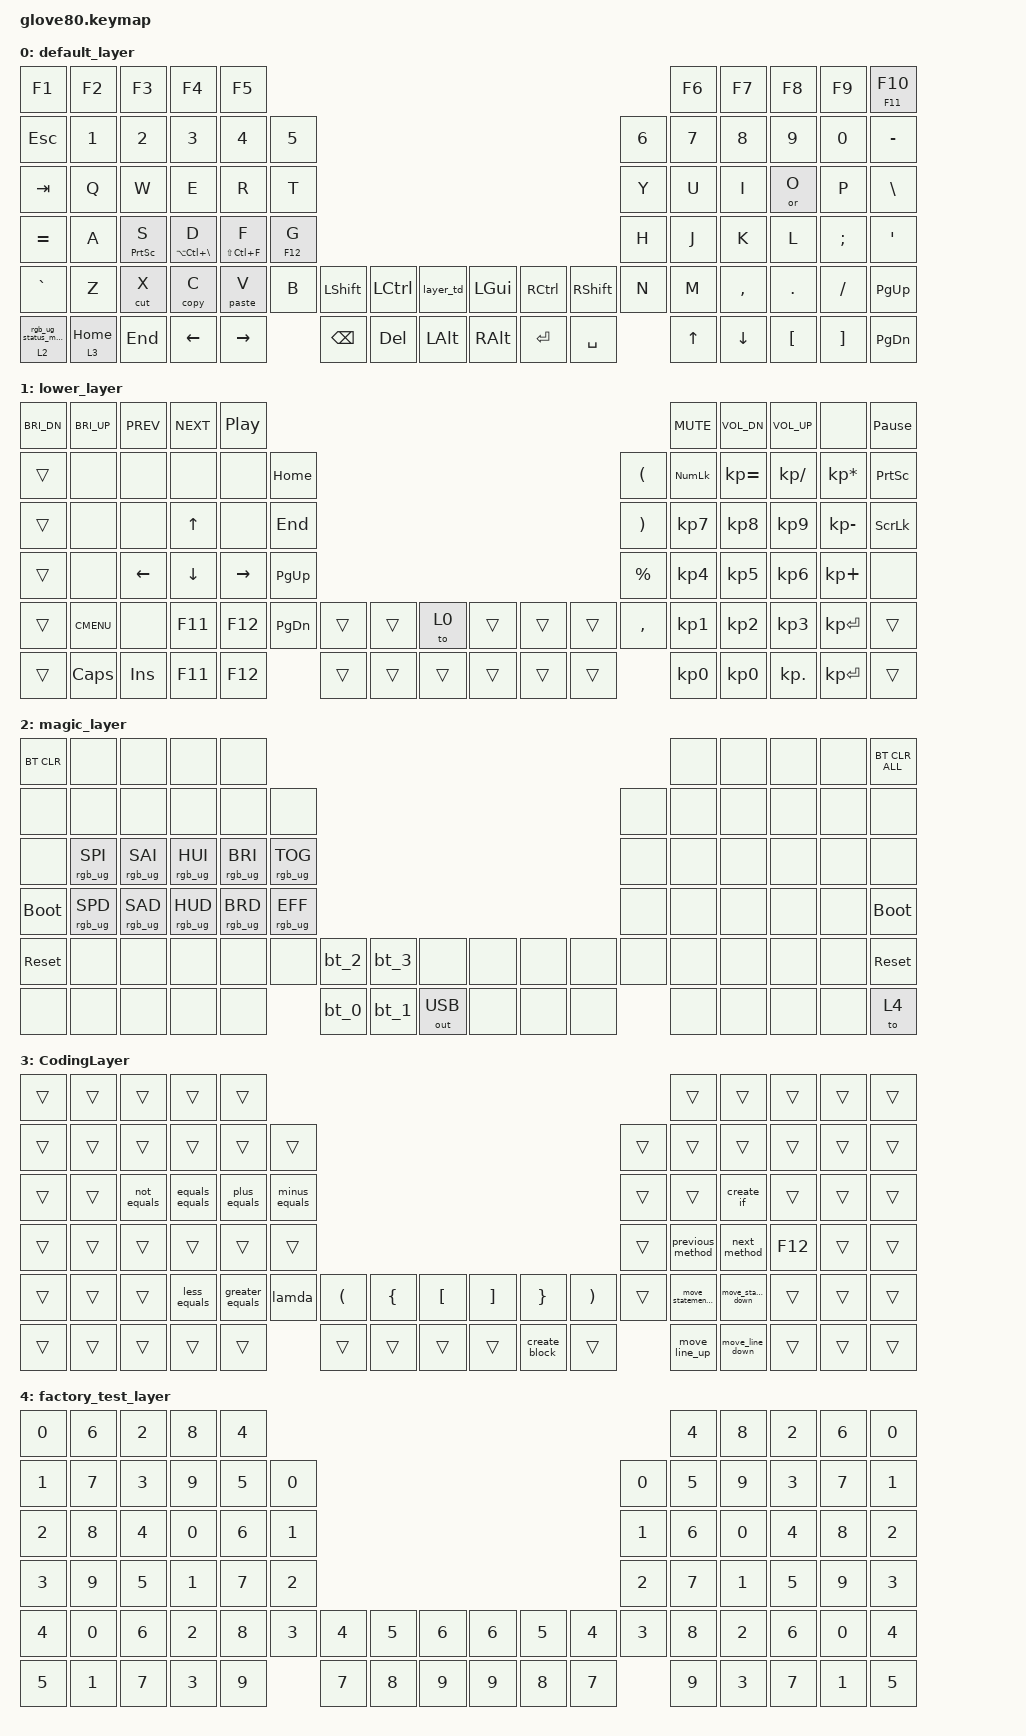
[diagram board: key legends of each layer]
/*
 * Copyright (c) 2020 The ZMK Contributors
 *
 * SPDX-License-Identifier: MIT
 */

#include <behaviors.dtsi>
#include <dt-bindings/zmk/bt.h>
#include <dt-bindings/zmk/keys.h>
#include <dt-bindings/zmk/outputs.h>
#include <dt-bindings/zmk/rgb.h>

#define HYPER LC(LS(LG(LALT)))

// layers

#define DEFAULT 0
#define LOWER 1
#define MAGIC 2
#define FACTORY_TEST 3

/ {
    behaviors {
        // For the "layer" key, it'd nice to be able to use it as either a shift or a toggle.
        // Configure it as a tap dance, so the first tap (or hold) is a &mo and the second tap is a &to

        layer_td: tap_dance_0 {
            compatible = "zmk,behavior-tap-dance";
            label = "LAYER_TAP_DANCE";
            #binding-cells = <0>;
            tapping-term-ms = <200>;
            bindings = <&mo 1>, <&to 1>;
        };

        magic: magic_hold_tap {
            compatible = "zmk,behavior-hold-tap";
            label = "MAGIC_HOLD_TAP";
            #binding-cells = <2>;
            flavor = "tap-preferred";
            tapping-term-ms = <200>;
            bindings = <&mo>, <&rgb_ug_status_macro>;
        };

        tap_hold_press: tap_hold_press {
            compatible = "zmk,behavior-hold-tap";
            label = "TAP_HOLD_PRESS";
            bindings = <&kp>, <&kp>;

            #binding-cells = <2>;
            tapping-term-ms = <300>;
            flavor = "tap-preferred";
        };

        tap_hold_layer: tap_hold_layer {
            compatible = "zmk,behavior-hold-tap";
            label = "TAP_HOLD_LAYER";
            bindings = <&mo>, <&kp>;

            #binding-cells = <2>;
            tapping-term-ms = <250>;
            flavor = "tap-preferred";
        };

        tap_hold_cut: tap_hold_cut {
            compatible = "zmk,behavior-hold-tap";
            label = "TAP_HOLD_CUT";
            bindings = <&cut>, <&kp>;

            #binding-cells = <2>;
            tapping-term-ms = <250>;
            flavor = "tap-preferred";
        };

        tap_hold_copy: tap_hold_copy {
            compatible = "zmk,behavior-hold-tap";
            label = "TAP_HOLD_COPY";
            bindings = <&copy>, <&kp>;

            #binding-cells = <2>;
            tapping-term-ms = <250>;
            flavor = "tap-preferred";
        };

        tap_hold_paste: tap_hold_paste {
            compatible = "zmk,behavior-hold-tap";
            label = "TAP_HOLD_PASTE";
            bindings = <&paste>, <&kp>;

            #binding-cells = <2>;
            tapping-term-ms = <250>;
            flavor = "tap-preferred";
        };

        tap_hold_or: tap_hold_or {
            compatible = "zmk,behavior-hold-tap";
            label = "TAP_HOLD_OR";
            bindings = <&or>, <&kp>;

            #binding-cells = <2>;
            flavor = "tap-preferred";
            tapping-term-ms = <300>;
        };
    };

    macros {
        rgb_ug_status_macro: rgb_ug_status_macro_0 {
            label = "RGB_UG_STATUS";
            compatible = "zmk,behavior-macro";
            #binding-cells = <0>;
            bindings = <&rgb_ug RGB_STATUS>;
        };

        bt_0: bt_profile_macro_0 {
            label = "BT_0";
            compatible = "zmk,behavior-macro";
            #binding-cells = <0>;
            bindings = <&out OUT_BLE &bt BT_SEL 0>;
        };

        bt_1: bt_profile_macro_1 {
            label = "BT_1";
            compatible = "zmk,behavior-macro";
            #binding-cells = <0>;
            bindings = <&out OUT_BLE &bt BT_SEL 1>;
        };

        bt_2: bt_profile_macro_2 {
            label = "BT_2";
            compatible = "zmk,behavior-macro";
            #binding-cells = <0>;
            bindings = <&out OUT_BLE &bt BT_SEL 2>;
        };

        bt_3: bt_profile_macro_3 {
            label = "BT_3";
            compatible = "zmk,behavior-macro";
            #binding-cells = <0>;
            bindings = <&out OUT_BLE &bt BT_SEL 3>;
        };

        equals_equals: equals_equals {
            compatible = "zmk,behavior-macro";
            #binding-cells = <0>;
            bindings = <&kp EQUAL &kp EQUAL>;
            label = "EQUALS_EQUALS";
        };

        plus_equals: plus_equals {
            compatible = "zmk,behavior-macro";
            #binding-cells = <0>;
            bindings = <&kp PLUS &kp EQUAL>;
            label = "PLUS_EQUALS";
        };

        minus_equals: minus_equals {
            compatible = "zmk,behavior-macro";
            #binding-cells = <0>;
            bindings = <&kp MINUS &kp EQUAL>;
            label = "MINUS_EQUALS";
        };

        next_method: next_method {
            compatible = "zmk,behavior-macro";
            #binding-cells = <0>;
            bindings = <&kp LC(LS(LA(K)))>;
            label = "NEXT_METHOD";
        };

        previous_method: previous_method {
            compatible = "zmk,behavior-macro";
            #binding-cells = <0>;
            bindings = <&kp LS(LA(LC(J)))>;
            label = "PREVIOUS_METHOD";
        };

        move_line_up: move_line_up {
            compatible = "zmk,behavior-macro";
            #binding-cells = <0>;
            bindings = <&kp LA(UP_ARROW)>;
            label = "MOVE_LINE_UP";
        };

        move_line_down: move_line_down {
            compatible = "zmk,behavior-macro";
            #binding-cells = <0>;
            bindings = <&kp LA(DOWN_ARROW)>;
            label = "MOVE_LINE_DOWN";
        };

        move_statement_up: move_statement_up {
            compatible = "zmk,behavior-macro";
            #binding-cells = <0>;
            bindings = <&kp LS(LA(LC(UP_ARROW)))>;
            label = "MOVE_STATEMENT_UP";
        };

        move_statement_down: move_statement_down {
            compatible = "zmk,behavior-macro";
            #binding-cells = <0>;
            bindings = <&kp LS(LA(LC(DOWN_ARROW)))>;
            label = "MOVE_STATEMENT_DOWN";
        };

        greater_equals: greater_equals {
            compatible = "zmk,behavior-macro";
            #binding-cells = <0>;
            bindings = <&kp GT &kp EQUAL>;
            label = "GREATER_EQUALS";
        };

        less_equals: less_equals {
            compatible = "zmk,behavior-macro";
            #binding-cells = <0>;
            bindings = <&kp LT &kp EQUAL>;
            label = "LESS_EQUALS";
        };

        lamda: lamda {
            compatible = "zmk,behavior-macro";
            #binding-cells = <0>;
            bindings = <&kp EQUAL &kp GT>;
            label = "LAMDA";
        };

        cut: cut {
            compatible = "zmk,behavior-macro";
            #binding-cells = <0>;
            bindings = <&kp LC(X)>;
            label = "CUT";
        };

        copy: copy {
            compatible = "zmk,behavior-macro";
            #binding-cells = <0>;
            bindings = <&kp LC(C)>;
            label = "COPY";
        };

        paste: paste {
            compatible = "zmk,behavior-macro";
            #binding-cells = <0>;
            bindings = <&kp LC(V)>;
            label = "PASTE";
        };

        or: or {
            compatible = "zmk,behavior-macro";
            #binding-cells = <0>;
            bindings = <&kp RA(PIPE) &kp RA(PIPE)>;
            label = "OR";
        };

        create_block: create_block {
            compatible = "zmk,behavior-macro";
            #binding-cells = <0>;
            bindings = <&kp END &kp ENTER &kp LEFT_BRACE &kp ENTER>;
            label = "CREATE_BLOCK";
        };

        not_equals: not_equals {
            compatible = "zmk,behavior-macro";
            #binding-cells = <0>;
            bindings = <&kp EXCL &kp EQUAL>;
            label = "NOT_EQUALS";
        };

        create_if: create_if {
            compatible = "zmk,behavior-macro";
            #binding-cells = <0>;
            bindings = <&kp I &kp F &kp SPACE &kp LPAR>;
            label = "CREATE_IF";
        };
    };

    keymap {
        compatible = "zmk,keymap";

        default_layer {
            // ---------------------------------------------------------------------------------------------------------------------------------
            // |  F1   |  F2 |  F3 |  F4  |  F5  |                                                               |  F6   |  F7   |  F8  |   F9  |  F10 |
            // |  =    |  1  |  2  |  3   |  4   |  5   |                                                 |  6   |   7   |   8   |  9   |   0   |   -  |
            // |  TAB  |  Q  |  W  |  E   |  R   |  T   |                                                 |  Y   |   U   |   I   |  O   |   P   |   \  |
            // |  ESC  |  A  |  S  |  D   |  F   |  G   |                                                 |  H   |   J   |   K   |  L   |   ;   |   '  |
            // |   `   |  Z  |  X  |  C   |  V   |  B   | LSHFT | LCTRL | LOWER | | LGUI  | RCTRL | RSHFT |  N   |   M   |   ,   |  .   |   /   | PGUP |
            // | MAGIC | HOME| END | LEFT | RIGHT|      | BSPC  | DEL   | LALT  | | RALT  | RET   | SPACE |      |  UP   | DOWN  |  [   |   ]   | PGDN |

            bindings = <
&kp F1      &kp F2                  &kp F3                         &kp F4                               &kp F5                                                                                                                       &kp F6  &kp F7     &kp F8            &kp F9    &tap_hold_press F11 F10
&kp ESCAPE  &kp N1                  &kp N2                         &kp N3                               &kp N4                       &kp N5                                                                                  &kp N6  &kp N7  &kp N8     &kp N9            &kp N0    &kp MINUS
&kp TAB     &kp Q                   &kp W                          &kp E                                &kp R                        &kp T                                                                                   &kp Y   &kp U   &kp I      &tap_hold_or 0 O  &kp P     &kp BSLH
&kp EQUAL   &kp A                   &tap_hold_press PRINTSCREEN S  &tap_hold_press LA(LC(BACKSLASH)) D  &tap_hold_press LS(LC(F)) F  &tap_hold_press F12 G                                                                   &kp H   &kp J   &kp K      &kp L             &kp SEMI  &kp SQT
&kp GRAVE   &kp Z                   &tap_hold_cut 0 X              &tap_hold_copy 0 C                   &tap_hold_paste 0 V          &kp B                  &kp LSHFT  &kp LCTRL  &layer_td  &kp LGUI  &kp RCTRL  &kp RSHFT  &kp N   &kp M   &kp COMMA  &kp DOT           &kp FSLH  &kp PG_UP
&magic 2 0  &tap_hold_layer 3 HOME  &kp END                        &kp LEFT                             &kp RIGHT                                           &kp BSPC   &kp DEL    &kp LALT   &kp RALT  &kp RET    &kp SPACE          &kp UP  &kp DOWN   &kp LBKT          &kp RBKT  &kp PG_DN
            >;
        };

        lower_layer {
            bindings = <
&kp C_BRI_DN  &kp C_BRI_UP  &kp C_PREV  &kp C_NEXT  &kp C_PP                                                                         &kp C_MUTE  &kp C_VOL_DN  &kp C_VOL_UP   &none            &kp PAUSE_BREAK
&trans        &none         &none       &none       &none      &kp HOME                                                   &kp LPAR   &kp KP_NUM  &kp KP_EQUAL  &kp KP_DIVIDE  &kp KP_MULTIPLY  &kp PSCRN
&trans        &none         &none       &kp UP      &none      &kp END                                                    &kp RPAR   &kp KP_N7   &kp KP_N8     &kp KP_N9      &kp KP_MINUS     &kp SLCK
&trans        &none         &kp LEFT    &kp DOWN    &kp RIGHT  &kp PG_UP                                                  &kp PRCNT  &kp KP_N4   &kp KP_N5     &kp KP_N6      &kp KP_PLUS      &none
&trans        &kp K_CMENU   &none       &kp F11     &kp F12    &kp PG_DN  &trans  &trans  &to 0   &trans  &trans  &trans  &kp COMMA  &kp KP_N1   &kp KP_N2     &kp KP_N3      &kp KP_ENTER     &trans
&trans        &kp CAPS      &kp INS     &kp F11     &kp F12               &trans  &trans  &trans  &trans  &trans  &trans             &kp KP_N0   &kp KP_N0     &kp KP_DOT     &kp KP_ENTER     &trans
            >;
        };

        magic_layer {
            bindings = <
&bt BT_CLR   &none            &none            &none            &none                                                                                     &none  &none  &none  &none  &bt BT_CLR_ALL
&none        &none            &none            &none            &none            &none                                                             &none  &none  &none  &none  &none  &none
&none        &rgb_ug RGB_SPI  &rgb_ug RGB_SAI  &rgb_ug RGB_HUI  &rgb_ug RGB_BRI  &rgb_ug RGB_TOG                                                   &none  &none  &none  &none  &none  &none
&bootloader  &rgb_ug RGB_SPD  &rgb_ug RGB_SAD  &rgb_ug RGB_HUD  &rgb_ug RGB_BRD  &rgb_ug RGB_EFF                                                   &none  &none  &none  &none  &none  &bootloader
&sys_reset   &none            &none            &none            &none            &none            &bt_2  &bt_3  &none         &none  &none  &none  &none  &none  &none  &none  &none  &sys_reset
&none        &none            &none            &none            &none                             &bt_0  &bt_1  &out OUT_USB  &none  &none  &none         &none  &none  &none  &none  &to 4
            >;
        };

        CodingLayer {
            bindings = <
&trans  &trans  &trans       &trans          &trans                                                                                                                                                     &trans              &trans                &trans   &trans  &trans
&trans  &trans  &trans       &trans          &trans           &trans                                                                                                                            &trans  &trans              &trans                &trans   &trans  &trans
&trans  &trans  &not_equals  &equals_equals  &plus_equals     &minus_equals                                                                                                                     &trans  &trans              &create_if            &trans   &trans  &trans
&trans  &trans  &trans       &trans          &trans           &trans                                                                                                                            &trans  &previous_method    &next_method          &kp F12  &trans  &trans
&trans  &trans  &trans       &less_equals    &greater_equals  &lamda         &kp LEFT_PARENTHESIS  &kp LEFT_BRACE  &kp LEFT_BRACKET  &kp RIGHT_BRACKET  &kp RIGHT_BRACE  &kp RIGHT_PARENTHESIS  &trans  &move_statement_up  &move_statement_down  &trans   &trans  &trans
&trans  &trans  &trans       &trans          &trans                          &trans                &trans          &trans            &trans             &create_block    &trans                         &move_line_up       &move_line_down       &trans   &trans  &trans
            >;
        };

        factory_test_layer {
            bindings = <
&kp N0  &kp N6  &kp N2  &kp N8  &kp N4                                                                  &kp N4  &kp N8  &kp N2  &kp N6  &kp N0
&kp N1  &kp N7  &kp N3  &kp N9  &kp N5  &kp N0                                                  &kp N0  &kp N5  &kp N9  &kp N3  &kp N7  &kp N1
&kp N2  &kp N8  &kp N4  &kp N0  &kp N6  &kp N1                                                  &kp N1  &kp N6  &kp N0  &kp N4  &kp N8  &kp N2
&kp N3  &kp N9  &kp N5  &kp N1  &kp N7  &kp N2                                                  &kp N2  &kp N7  &kp N1  &kp N5  &kp N9  &kp N3
&kp N4  &kp N0  &kp N6  &kp N2  &kp N8  &kp N3  &kp N4  &kp N5  &kp N6  &kp N6  &kp N5  &kp N4  &kp N3  &kp N8  &kp N2  &kp N6  &kp N0  &kp N4
&kp N5  &kp N1  &kp N7  &kp N3  &kp N9          &kp N7  &kp N8  &kp N9  &kp N9  &kp N8  &kp N7          &kp N9  &kp N3  &kp N7  &kp N1  &kp N5
            >;
        };
    };
};
